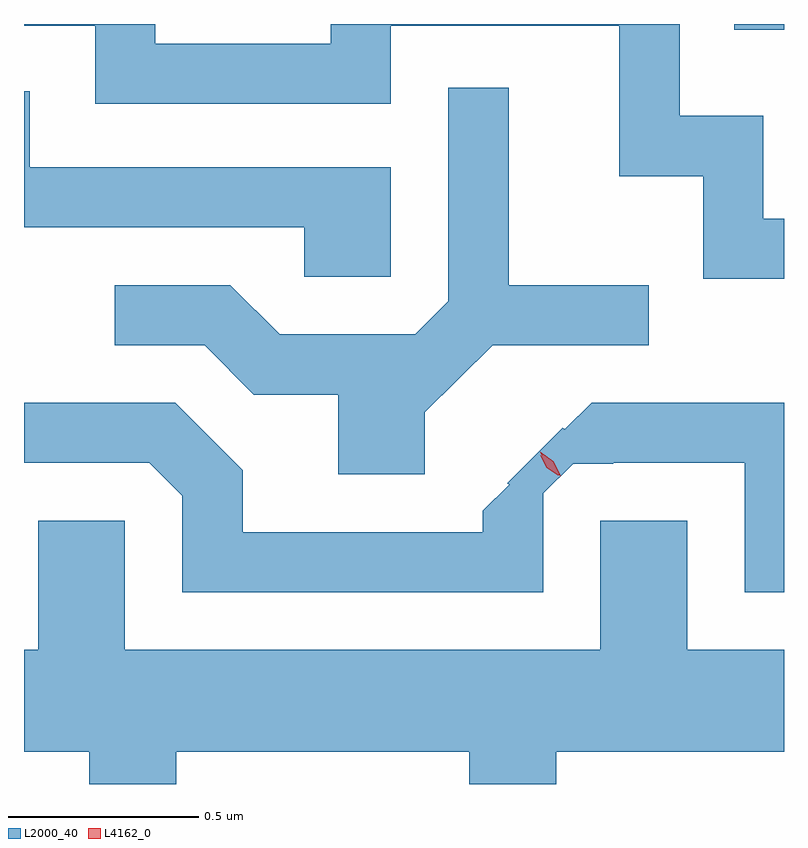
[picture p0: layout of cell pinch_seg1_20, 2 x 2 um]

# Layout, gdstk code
import gdstk
lib = gdstk.Library(unit=1e-6, precision=1e-09)
def R(c, l, rs):  # rectangles x0, y0, x1, y1
    for r in rs: c.add(gdstk.rectangle(r[:2], r[2:], *l))
def P(c, l, *ps):  # polygons
    for p in ps: c.add(gdstk.Polygon(p, *l))
L2000_40 = (2000, 40)
L4162_0 = (4162, 0)

pinch_seg1_20 = lib.new_cell('pinch_seg1_20')
R(pinch_seg1_20, L2000_40, [(1897.443,850.416,1897.574,850.431)])
P(pinch_seg1_20, L2000_40, [(1897.574,849.919),(1897.519,849.919),(1897.519,850.189),(1897.299,850.189),(1897.299,850.431),(1896.381,850.431),(1896.381,850.379),(1895.919,850.379),(1895.919,850.431),(1895.574,850.431),(1895.574,850.426),(1895.761,850.426),(1895.761,850.221),(1896.539,850.221),(1896.539,850.426),(1897.141,850.426),(1897.141,850.031),(1897.361,850.031),(1897.361,849.761),(1897.574,849.761)],
  [(1896.629,849.409),(1896.807,849.586),(1897.218,849.586),(1897.218,849.744),(1896.849,849.744),(1896.849,850.263),(1896.691,850.263),(1896.691,849.702),(1896.604,849.614),(1896.247,849.614),(1896.117,849.744),(1895.813,849.744),(1895.813,849.586),(1896.049,849.586),(1896.179,849.456),(1896.401,849.456),(1896.401,849.246),(1896.629,849.246)],
  [(1896.539,850.054),(1895.589,850.054),(1895.589,850.254),(1895.574,850.254),(1895.574,849.896),(1896.311,849.896),(1896.311,849.766),(1896.539,849.766)],
  [(1896.941,849.196),(1897.019,849.274),(1897.125,849.274),(1897.125,849.276),(1897.471,849.276),(1897.471,848.936),(1897.574,848.936),(1897.574,849.434),(1897.068,849.434),(1896.997,849.364),(1896.992,849.369),(1896.846,849.223),(1896.851,849.219),(1896.781,849.15),(1896.781,849.094),(1896.149,849.094),(1896.149,849.257),(1895.972,849.434),(1895.574,849.434),(1895.574,849.276),(1895.904,849.276),(1895.991,849.189),(1895.991,848.936),(1896.941,848.936)],
  [(1895.974,848.516),(1896.746,848.516),(1896.746,848.431),(1896.974,848.431),(1896.974,848.516),(1897.574,848.516),(1897.574,848.784),(1897.319,848.784),(1897.319,849.124),(1897.091,849.124),(1897.091,848.784),(1895.839,848.784),(1895.839,849.124),(1895.611,849.124),(1895.611,848.784),(1895.574,848.784),(1895.574,848.516),(1895.746,848.516),(1895.746,848.431),(1895.974,848.431)])
P(pinch_seg1_20, L4162_0, [(1896.986,849.241),(1896.952,849.266),(1896.932,849.304),(1896.932,849.305),(1896.933,849.305),(1896.967,849.28),(1896.987,849.242),(1896.987,849.241)],
  [(1896.979,849.244),(1896.949,849.263),(1896.933,849.296),(1896.933,849.296),(1896.933,849.296),(1896.964,849.277),(1896.98,849.244),(1896.98,849.244)])

lib.write_gds('pinch_seg1_20.gds')
